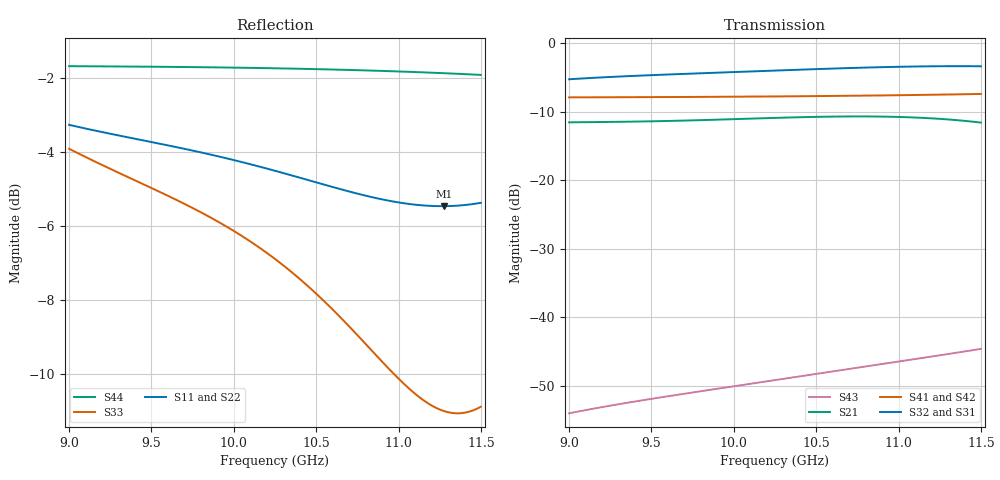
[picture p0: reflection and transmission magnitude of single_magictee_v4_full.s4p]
! Generated from PyAEDT SolutionData; AEDT ExportNetworkData workaround
# GHz S MA R 50
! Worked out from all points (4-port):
!   101 points, 9 GHz to 11.5 GHz, reference 50 ohm
!   strongest paths, dB at 9 GHz, 9.625 GHz, 10.25 GHz, 10.88 GHz, 11.5 GHz:
!     S32: -5.3, -4.6, -4.0, -3.5, -3.4
!     S31: -5.3, -4.6, -4.0, -3.5, -3.4
!     S41: -7.9, -7.9, -7.8, -7.6, -7.4
!     S42: -8.0, -8.0, -7.9, -7.8, -7.6
!     S21: -11.6, -11.3, -10.9, -10.7, -11.6
!     S43: -54.0, -51.4, -49.2, -46.9, -44.6
!   lowest |S11| = -5.5 dB at 11.28 GHz (marker M1), VSWR 3.29, Z = 16.8 + j15.5 ohm
!   |S11| at or under -10 dB: nowhere
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9  0.6871 26.9  0.2643 -85.2  0.5444 -2.3  0.402 33.7
   0.2643 -85.2  0.6891 26.8  0.5448 -2.2  0.3981 -146.0
   0.5444 -2.3  0.5448 -2.2  0.6378 171.2  0.001989 49.3
   0.402 33.7  0.3981 -146.0  0.001989 49.3  0.8246 -156.6
9.4  0.658 -20.7  0.2676 -139.9  0.5768 -73.1  0.4034 -8.7
     0.2676 -139.9  0.6604 -20.8  0.5771 -73.0  0.399 171.7
     0.5768 -73.1  0.5771 -73.0  0.5782 78.5  0.002425 -20.3
     0.4034 -8.7  0.399 171.7  0.002425 -20.3  0.8235 167.2
9.725  0.636 -58.1  0.2727 177.7  0.5977 -128.5  0.4048 -42.1
       0.2727 177.7  0.6389 -58.1  0.598 -128.4  0.4 138.4
       0.5977 -128.5  0.598 -128.4  0.534 6.2  0.002793 -74.8
       0.4048 -42.1  0.4 138.4  0.002793 -74.8  0.8223 138.5
10.05  0.6119 -94.4  0.2799 136.1  0.6178 177.5  0.4068 -74.7
       0.2799 136.1  0.6153 -94.4  0.618 177.6  0.4015 105.9
       0.6178 177.5  0.618 177.6  0.4862 -64.2  0.003198 -127.9
       0.4068 -74.7  0.4015 105.9  0.003198 -127.9  0.8205 110.3
10.65  0.5624 -157.8  0.2914 59.6  0.6549 79.3  0.4123 -133.3
       0.2914 59.6  0.5667 -157.7  0.6549 79.5  0.4062 47.3
       0.6549 79.3  0.6549 79.5  0.3771 164.6  0.004104 135.9
       0.4123 -133.3  0.4062 47.3  0.004104 135.9  0.8155 59.3
11.275  0.5336 141.9  0.2788 -20.8  0.6782 -23.1  0.4214 166.9
        0.2788 -20.8  0.5389 142.1  0.6785 -22.8  0.4142 -12.3
        0.6782 -23.1  0.6785 -22.8  0.2823 9.1  0.005326 36.2
        0.4214 166.9  0.4142 -12.3  0.005326 36.2  0.8068 6.7
11.5  0.5392 120.9  0.2631 -49.3  0.6773 -60.3  0.4258 145.6
      0.2631 -49.3  0.5448 121.1  0.6778 -60.0  0.4179 -33.7
      0.6773 -60.3  0.6778 -60.0  0.2861 -52.4  0.005874 0.3
      0.4258 145.6  0.4179 -33.7  0.005874 0.3  0.8025 -12.3
